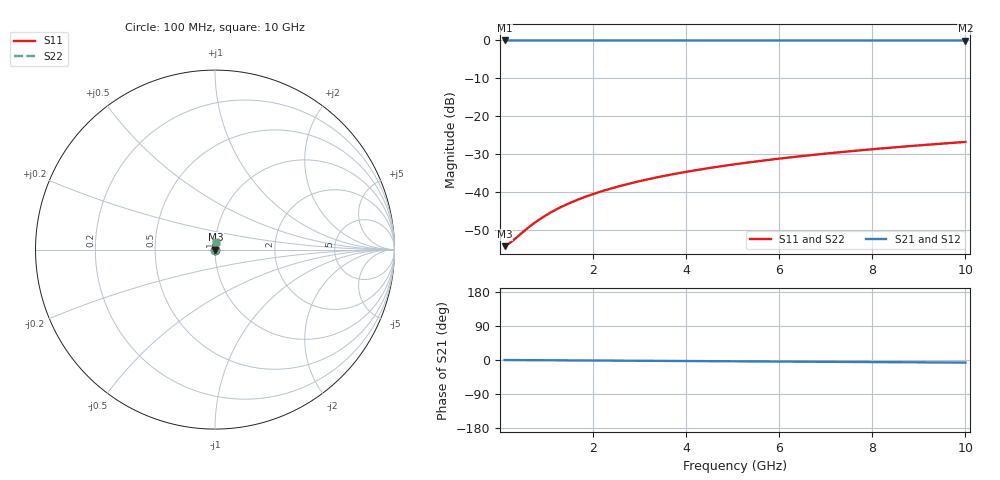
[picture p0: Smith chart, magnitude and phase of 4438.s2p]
# Hz S RI R 50.00
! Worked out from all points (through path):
!   100 points, 100 MHz to 10 GHz, reference 50 ohm
!   highest |S21| = -0.02 dB at 100 MHz (marker M1); lowest = 0.0 dB at 10 GHz (marker M2)
!   lowest |S11| = -54.4 dB at 100 MHz (marker M3), VSWR 1.00, Z = 50.2 + j0.0456 ohm
!   |S11| at or under -10 dB: start of sweep to end of sweep
!   |S22| runs from -54.4 to -26.8 dB; largest |S21 - S12| = 0
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1e8  0.00186 0.000454  0.9981 -0.00119  0.9981 -0.00119  0.00186 0.000454
2e8  0.00188 0.000909  0.9981 -0.00239  0.9981 -0.00239  0.00188 0.000909
3e8  0.00189 0.00136  0.9981 -0.00358  0.9981 -0.00358  0.00189 0.00136
6e8  0.00192 0.00273  0.9981 -0.00716  0.9981 -0.00716  0.00192 0.00273
7e8  0.00193 0.00318  0.998 -0.00835  0.998 -0.00835  0.00193 0.00318
8e8  0.00194 0.00363  0.998 -0.00954  0.998 -0.00954  0.00194 0.00363
1e9  0.00197 0.00454  0.998 -0.0119  0.998 -0.0119  0.00197 0.00454
1.2e9  0.002 0.00545  0.9979 -0.0143  0.9979 -0.0143  0.002 0.00545
1.4e9  0.00204 0.00636  0.9979 -0.0167  0.9979 -0.0167  0.00204 0.00636
1.6e9  0.00207 0.00727  0.9978 -0.0191  0.9978 -0.0191  0.00207 0.00727
1.8e9  0.00212 0.00817  0.9978 -0.0215  0.9978 -0.0215  0.00212 0.00817
2.1e9  0.00219 0.00953  0.9977 -0.025  0.9977 -0.025  0.00219 0.00953
2.5e9  0.0023 0.0113  0.9975 -0.0298  0.9975 -0.0298  0.0023 0.0113
2.9e9  0.00242 0.0132  0.9973 -0.0346  0.9973 -0.0346  0.00242 0.0132
3.4e9  0.0026 0.0154  0.9971 -0.0405  0.9971 -0.0405  0.0026 0.0154
4.2e9  0.00295 0.019  0.9965 -0.0501  0.9965 -0.0501  0.00295 0.019
5.1e9  0.00341 0.0231  0.9958 -0.0608  0.9958 -0.0608  0.00341 0.0231
5.9e9  0.0039 0.0267  0.9951 -0.0703  0.9951 -0.0703  0.0039 0.0267
6.7e9  0.00446 0.0303  0.9943 -0.0798  0.9943 -0.0798  0.00446 0.0303
7.5e9  0.00509 0.0339  0.9933 -0.0893  0.9933 -0.0893  0.00509 0.0339
8.4e9  0.00587 0.0379  0.9921 -0.0999  0.9921 -0.0999  0.00587 0.0379
1e10  0.00748 0.045  0.9897 -0.1189  0.9897 -0.1189  0.00748 0.045
